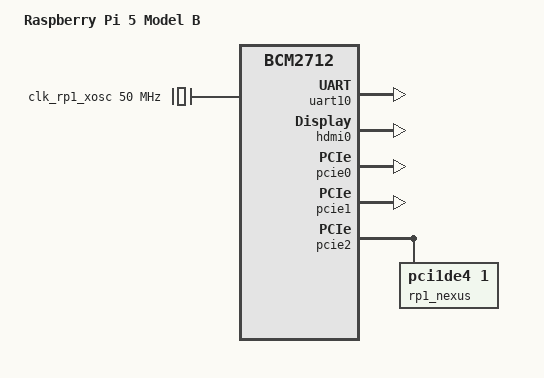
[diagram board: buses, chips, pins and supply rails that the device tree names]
// SPDX-License-Identifier: GPL-2.0
/*
 * Minimal Device Tree stub for Raspberry Pi 5 Model B (BCM2712)
 * The actual device tree is provided by the firmware at runtime
 * This stub provides essential devices for U-Boot operation
 */

/dts-v1/;

#include <dt-bindings/gpio/gpio.h>
#include <dt-bindings/interrupt-controller/irq.h>

/ {
	compatible = "raspberrypi,5-model-b", "brcm,bcm2712";
	model = "Raspberry Pi 5 Model B";

	#address-cells = <2>;
	#size-cells = <2>;

	chosen {
		stdout-path = "serial10:115200n8";
	};

	aliases {
		serial10 = "/soc/serial@107d001000";
		ethernet0 = "/axi/pcie@1000120000/rp1_nexus/pci-ep-bus@1/ethernet@40100000";
	};

	/* RP1 50MHz oscillator - required for RP1 clocks */
	clk_rp1_xosc: clock-50000000 {
		compatible = "fixed-clock";
		#clock-cells = <0>;
		clock-output-names = "rp1-xosc";
		clock-frequency = <50000000>;
	};

	soc {
		compatible = "simple-bus";
		#address-cells = <2>;
		#size-cells = <2>;
		ranges;

		uart10: serial@107d001000 {
			compatible = "arm,pl011", "arm,primecell";
			reg = <0x10 0x7d001000 0x0 0x200>;
		};

		/* Mailbox for VideoCore firmware communication */
		mailbox: mailbox@107d00b880 {
			compatible = "brcm,bcm2835-mbox";
			reg = <0x10 0x7d00b880 0x0 0x40>;
			#mbox-cells = <0>;
		};

		/* HDMI0 - Primary display output */
		hdmi0: hdmi@107ef00700 {
			compatible = "brcm,bcm2712-hdmi0";
			reg = <0x10 0x7ef00700 0x0 0x300>;
			status = "okay";
		};

		/* Simple framebuffer - fallback if firmware provides one */
		framebuffer: framebuffer {
			compatible = "simple-framebuffer";
			status = "disabled";
		};
	};

	/* AXI bus - contains PCIe controllers */
	axi: axi {
		compatible = "simple-bus";
		#address-cells = <2>;
		#size-cells = <2>;
		ranges;

		/* PCIe0 - M.2 NVMe slot (Hat+) */
		pcie0: pcie@1000100000 {
			compatible = "brcm,bcm2712-pcie";
			reg = <0x10 0x00100000 0x00 0x9310>;
			device_type = "pci";
			#address-cells = <3>;
			#interrupt-cells = <1>;
			#size-cells = <2>;

			ranges =
				/* ~4GiB, 32-bit, non-prefetchable at PCIe 00_0000_0000 */
				<0x02000000 0x00 0x00000000 0x17 0x00000000 0x00 0xfffffffc>,
				/* 12GiB, 64-bit, prefetchable at PCIe 04_0000_0000 */
				<0x43000000 0x04 0x00000000 0x14 0x00000000 0x03 0x00000000>;

			dma-ranges =
				/* 64GiB, 64-bit, prefetchable at PCIe 10_0000_0000 */
				<0x43000000 0x10 0x00000000 0x00 0x00000000 0x10 0x00000000>;
		};

		/* PCIe1 - External PCIe slot (requires Hat+ for physical access) */
		pcie1: pcie@1000110000 {
			compatible = "brcm,bcm2712-pcie";
			reg = <0x10 0x00110000 0x00 0x9310>;
			device_type = "pci";
			#address-cells = <3>;
			#interrupt-cells = <1>;
			#size-cells = <2>;

			ranges =
				/* ~4GiB, 32-bit, non-prefetchable at PCIe 00_0000_0000 */
				<0x02000000 0x00 0x00000000 0x1b 0x00000000 0x00 0xfffffffc>,
				/* 12GiB, 64-bit, prefetchable at PCIe 04_0000_0000 */
				<0x43000000 0x04 0x00000000 0x18 0x00000000 0x03 0x00000000>;

			dma-ranges =
				/* 64GiB, 64-bit, non-prefetchable at PCIe 10_0000_0000 */
				<0x03000000 0x10 0x00000000 0x00 0x00000000 0x10 0x00000000>;
		};

		/* PCIe2 - RP1 southbridge connection */
		pcie2: pcie@1000120000 {
			compatible = "brcm,bcm2712-pcie";
			reg = <0x10 0x00120000 0x00 0x9310>;
			device_type = "pci";
			#address-cells = <3>;
			#interrupt-cells = <1>;
			#size-cells = <2>;

			ranges =
				/* ~4GiB, 32-bit, non-prefetchable at PCIe 00_0000_0000 */
				<0x02000000 0x00 0x00000000 0x1f 0x00000000 0x00 0xfffffffc>,
				/* 12GiB, 64-bit, prefetchable at PCIe 04_0000_0000 */
				<0x43000000 0x04 0x00000000 0x1c 0x00000000 0x03 0x00000000>;

			dma-ranges =
				/* 4MiB, 32-bit, non-prefetchable at PCIe 00_0000_0000 */
				<0x02000000 0x00 0x00000000 0x1f 0x00000000 0x00 0x00400000>,
				/* 64GiB, 64-bit, prefetchable at PCIe 10_0000_0000 */
				<0x43000000 0x10 0x00000000 0x00 0x00000000 0x10 0x00000000>;

			/* RP1 Nexus - PCI device 1de4:0001 (Raspberry Pi RP1-C0) */
			rp1_nexus {
				compatible = "pci1de4,1";
				#address-cells = <3>;
				#size-cells = <2>;
				ranges = <0x01 0x00 0x00000000
					  0x02000000 0x00 0x00000000
					  0x0 0x400000>;
				interrupt-controller;
				#interrupt-cells = <2>;

				/* RP1 peripheral bus */
				pci_ep_bus: pci-ep-bus@1 {
					compatible = "simple-bus";
					ranges = <0x00 0x40000000  0x01 0x00 0x00000000  0x00 0x00400000>;
					dma-ranges = <0x10 0x00000000  0x43000000 0x10 0x00000000  0x10 0x00000000>;
					#address-cells = <2>;
					#size-cells = <2>;

					/* RP1 Clock controller */
					rp1_clocks: clocks@40018000 {
						compatible = "raspberrypi,rp1-clocks";
						reg = <0x00 0x40018000 0x0 0x10038>;
						#clock-cells = <1>;
						clocks = <&clk_rp1_xosc>;
					};

					/* RP1 GPIO controller */
					rp1_gpio: pinctrl@400d0000 {
						compatible = "raspberrypi,rp1-gpio";
						reg = <0x00 0x400d0000  0x0 0xc000>,
						      <0x00 0x400e0000  0x0 0xc000>,
						      <0x00 0x400f0000  0x0 0xc000>;
						gpio-controller;
						#gpio-cells = <2>;
						interrupt-controller;
						#interrupt-cells = <2>;
					};

					/* RP1 Ethernet (MACB) */
					rp1_eth: ethernet@40100000 {
						compatible = "raspberrypi,rp1-gem";
						reg = <0x00 0x40100000  0x0 0x4000>;
						clocks = <&rp1_clocks 12>, /* RP1_CLK_SYS */
							 <&rp1_clocks 12>, /* RP1_CLK_SYS */
							 <&rp1_clocks 16>, /* RP1_CLK_ETH */
							 <&rp1_clocks 29>; /* RP1_CLK_ETH_TSU */
						clock-names = "pclk", "hclk", "tx_clk", "tsu_clk";
						local-mac-address = [00 00 00 00 00 00];
						phy-mode = "rgmii-id";
						#address-cells = <1>;
						#size-cells = <0>;
					};

					/* RP1 USB0 (DWC3) */
					rp1_usb0: usb@40200000 {
						compatible = "snps,dwc3";
						reg = <0x00 0x40200000  0x0 0x100000>;
						dr_mode = "host";
						usb3-lpm-capable;
						snps,dis_rxdet_inp3_quirk;
						snps,parkmode-disable-hs-quirk;
						snps,parkmode-disable-ss-quirk;
					};

					/* RP1 USB1 (DWC3) */
					rp1_usb1: usb@40300000 {
						compatible = "snps,dwc3";
						reg = <0x00 0x40300000  0x0 0x100000>;
						dr_mode = "host";
						usb3-lpm-capable;
						snps,dis_rxdet_inp3_quirk;
						snps,parkmode-disable-hs-quirk;
						snps,parkmode-disable-ss-quirk;
					};
				};
			};
		};
	};
};

#include "bcm2712-rpi-5-b-u-boot.dtsi"
